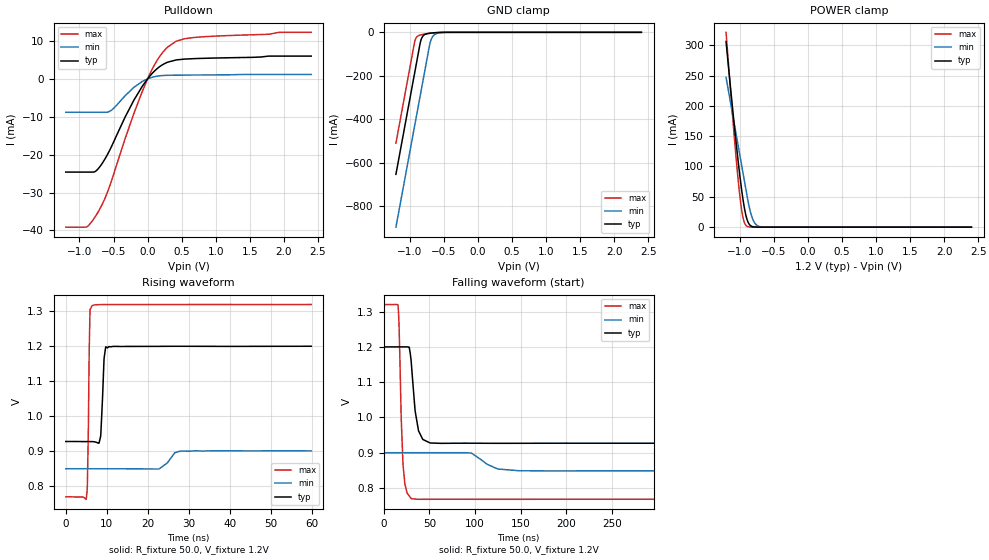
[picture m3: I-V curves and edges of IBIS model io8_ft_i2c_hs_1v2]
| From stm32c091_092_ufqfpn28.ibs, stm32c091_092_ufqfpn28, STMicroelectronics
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[Model]   io8_ft_i2c_hs_1v2
Model_type I/O_open_drain
Polarity   Non-Inverting
Enable   Active-Low
| CAP_THRESHOLD on pad IOFT is "UDTCAPC" :
| Rising=30.0% of vddiom   Falling=70.0% of vddiom
| C_comp min and max val. don't necessarily correlate with the min and max pvt
| but are the smallest and greatest pad capacitance found.
| var   typ   min   max
C_comp   1.89960pF  1.76165pF  1.92620pF
|C_comp_pulldown   1.89960pF  1.76165pF  1.92620pF
Vinl = 450.0mV
Vinh = 660.0mV
Vmeas = 600.0mV   | Reference voltage for timing measurements
Cref  = 50.0pF   | Timing specification test load capacitance value
Rref  = 1.0MOhm   | Timing specification test load resistance value
Vref  = 660.0mV   | Timing specification test load voltage
[Model Spec]
| TIME_THRESHOLD on pin ZII2CV12 is "CMOS" :
| Rising=50.0% of vdd   Falling=50.0% of vdd
Vinl 458.70000mV 361.70000mV 499.70000mV
Vinh 728.30000mV 549.30000mV 792.30000mV
| variable   typ   min   max
[Temperature Range] 25.0 125.0 -40.0
| variable   typ   min   max
[Voltage Range] 1.2V 900.0mV 1.32V
| variable   typ   min   max
[POWER Clamp Reference] 1.2V 900.0mV 1.32V
| variable   typ   min   max
[GND Clamp Reference] 0V 0V 0V
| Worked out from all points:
|   slope of the pulldown table from 0 to 0.18 V, typ, clamps not added: 55.2 ohm
|   GND clamp passes 1 mA (typ) near -0.58 V on its own axis
|   POWER clamp passes 1 mA (typ) near -0.81 V on its own axis
|   rising waveform, R_fixture 50.0, V_fixture 1.2V: 20-80 % time 585ps typ, 2.27ns min, 366ps max; typ from 0.927 V to 1.2 V
|   falling waveform, R_fixture 50.0, V_fixture 1.2V: 20-80 % time 6.37ns typ, 19.4ns min, 3.65ns max; typ from 1.2 V to 0.927 V
[POWER Clamp]
-1.2V     306.2mA    246.9mA    321.2mA
-1.09V    180mA      177.2mA    163.4mA
-1.05V    136.9mA    151.8mA    110.9mA
-1.01V    96.55mA    126.4mA    64.02mA
-960mV    52.29mA    94.73mA    20.68mA
-930mV    31.08mA    75.71mA    7.282mA
-900mV    15.67mA    56.69mA    2.025mA
-860mV    4.779mA    33.42mA    315.2uA
-810mV    823.2uA    13.62mA    29.21uA
-760mV    129.2uA    4.248mA    2.687uA
-690mV    9.442uA    651.7uA    95.02nA
2.4V      0A         0A         0A
[GND Clamp]
-1.2V     -654.2mA   -897.4mA   -510.5mA
-920mV    -178.2mA   -421.4mA   -38.03mA
-890mV    -127.2mA   -370.4mA   -19.79mA
-840mV    -43.84mA   -285.4mA   -12.07mA
-820mV    -25.28mA   -251.4mA   -10.64mA
-780mV    -10.73mA   -183.4mA   -8.317mA
-700mV    -3.985mA   -50.14mA   -4.515mA
-670mV    -2.94mA    -24.28mA   -3.345mA
-640mV    -2.115mA   -12.33mA   -2.341mA
-570mV    -791.5uA   -2.935mA   -746.3uA
-440mV    -36.45uA   -184.1uA   -16.55uA
2.4V      342.4pA    36.99nA    239.3pA
| variable   typ   min   max
[Pullup Reference] 1.2V 900.0mV 1.32V
| variable   typ   min   max
[Pulldown Reference] 0V 0V 0V
[Pulldown]
-1.2V     -24.6mA    -8.807mA   -39.12mA
-890mV    -24.6mA    -8.807mA   -39.02mA
-780mV    -24.54mA   -8.807mA   -36.66mA
-710mV    -23.4mA    -8.807mA   -34.61mA
-530mV    -17.87mA   -8.266mA   -26.91mA
-330mV    -10.09mA   -4.455mA   -15.79mA
-80mV     -2.02mA    -710uA     -3.413mA
110mV     2.211mA    605.8uA    3.97mA
290mV     4.374mA    930.5uA    8.331mA
420mV     4.991mA    971.4uA    9.931mA
670mV     5.322mA    1.008mA    10.89mA
2.4V      5.995mA    1.165mA    12.27mA
[Ramp]
dV/dt_r 164.00529mV/585.28827ps 30.63495mV/2.27394ns 331.19701mV/365.91899ps
dV/dt_f 164.00779mV/6.37168ns 31.00223mV/19.43092ns 331.14282mV/3.64982ns
R_load = 50.0
| Removed startup time: 0s 0s 0s  .
| Removed end time: 59.75ns.
[Rising Waveform]
R_fixture   = 50.0
V_fixture   = 1.2V
V_fixture_min = 900.0mV
V_fixture_max = 1.32V
0s        926.8mV    848.6mV    768mV
5ns       926.5mV    848.6mV    763.2mV
5.25ns    926.5mV    848.6mV    802.7mV
5.7ns     926.6mV    848.6mV    1.189V
5.9ns     926.6mV    848.6mV    1.306V
6.5ns     926.4mV    848.6mV    1.317V
8.5ns     942.7mV    848.6mV    1.32V
9.3ns     1.162V     848.6mV    1.32V
9.75ns    1.199V     848.6mV    1.32V
59.75ns   1.2V       899.7mV    1.32V
| Removed startup time: 0s 0s 0s  .
| Removed end time: 899.55ns.
[Falling Waveform]
R_fixture   = 50.0
V_fixture   = 1.2V
V_fixture_min = 900.0mV
V_fixture_max = 1.32V
0s        1.2V       900mV      1.32V
15.75ns   1.2V       900mV      1.318V
16.8ns    1.2V       900mV      1.264V
21.15ns   1.2V       900mV      868.2mV
27.9ns    1.199V     900mV      778mV
30.45ns   1.148V     900mV      769.6mV
38.1ns    963.3mV    900mV      767.9mV
51ns      927.7mV    900mV      768mV
147.9ns   926.7mV    849mV      768mV
899.6ns   926.7mV    848.3mV    768.1mV
